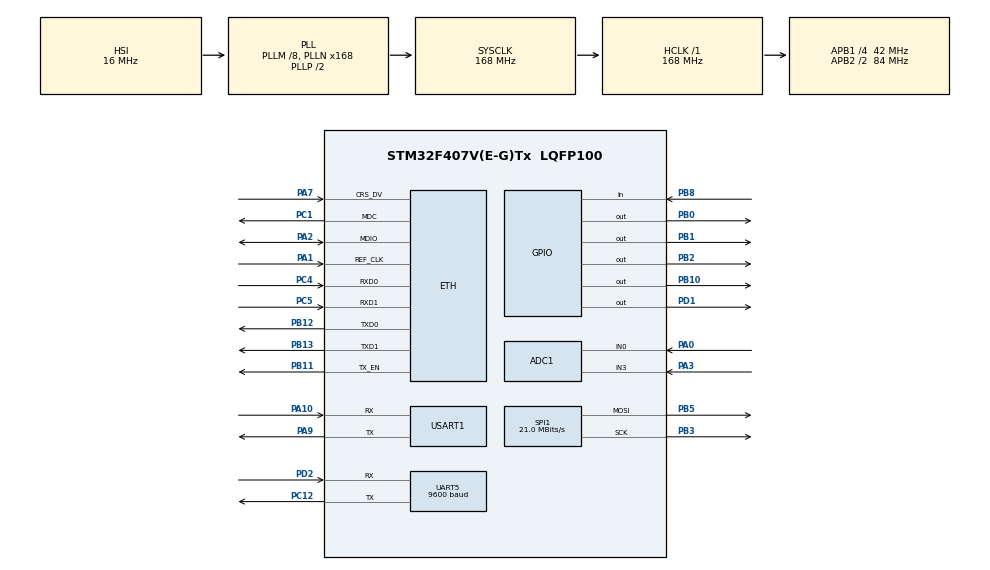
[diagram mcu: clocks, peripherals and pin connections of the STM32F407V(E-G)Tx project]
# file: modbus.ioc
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ADC1.Channel-0\#ChannelRegularConversion=ADC_CHANNEL_0
ADC1.InjNumberOfConversion=0
ADC1.NbrOfConversionFlag=1
ADC1.Rank-0\#ChannelRegularConversion=1
ADC1.SamplingTime-0\#ChannelRegularConversion=ADC_SAMPLETIME_84CYCLES
ADC1.master=1
ETH.MediaInterface=HAL_ETH_RMII_MODE
ETH.RxMode=ETH_RXINTERRUPT_MODE
FREERTOS.Tasks01=defaultTask,24,128,StartDefaultTask,Default,NULL,Dynamic,NULL,NULL
IWDG.Prescaler=IWDG_PRESCALER_64
LWIP.BSP.number=1
LWIP.GATEWAY_ADDRESS=192.168.001.001
LWIP.IP_ADDRESS=192.168.001.100
LWIP.LWIP_DHCP=0
LWIP.LWIP_UDP=0
LWIP.NETMASK_ADDRESS=255.255.255.000
LWIP.Version=v2.1.2_Cube
LWIP0.BSP.STBoard=false
LWIP0.BSP.api=BSP_COMPONENT_DRIVER
LWIP0.BSP.component=LAN8742
LWIP0.BSP.instance=LAN8742
LWIP0.BSP.name=Driver_PHY
LWIP0.BSP.semaphore=S_LAN8742
LWIP0.BSP.solution=LAN8742
Mcu.Family=STM32F4
Mcu.Name=STM32F407V(E-G)Tx
Mcu.Package=LQFP100
NVIC.ETH_IRQn=true\:5\:0\:false\:false\:true\:true\:false\:true\:true
NVIC.PriorityGroup=NVIC_PRIORITYGROUP_4
NVIC.TIM6_DAC_IRQn=true\:15\:0\:false\:false\:true\:false\:false\:true\:true
NVIC.TimeBase=TIM6_DAC_IRQn
NVIC.TimeBaseIP=TIM6
PA0-WKUP.Signal=ADCx_IN0
PA1.Mode=RMII
PA1.Signal=ETH_REF_CLK
PA10.Mode=Asynchronous
PA10.Signal=USART1_RX
PA13.Mode=Serial_Wire
PA13.Signal=SYS_JTMS-SWDIO
PA14.Mode=Serial_Wire
PA14.Signal=SYS_JTCK-SWCLK
PA2.Mode=RMII
PA2.Signal=ETH_MDIO
PA3.Signal=ADCx_IN3
PA7.Mode=RMII
PA7.Signal=ETH_CRS_DV
PA9.Mode=Asynchronous
PA9.Signal=USART1_TX
PB0.PinState=GPIO_PIN_SET
PB0.Signal=GPIO_Output
PB1.Signal=GPIO_Output
PB10.GPIO_PuPd=GPIO_PULLUP
PB10.Signal=GPIO_Output
PB11.Mode=RMII
PB11.Signal=ETH_TX_EN
PB12.Mode=RMII
PB12.Signal=ETH_TXD0
PB13.Mode=RMII
PB13.Signal=ETH_TXD1
PB2.PinState=GPIO_PIN_SET
PB2.Signal=GPIO_Output
PB3.Mode=TX_Only_Simplex_Unidirect_Master
PB3.Signal=SPI1_SCK
PB5.Mode=TX_Only_Simplex_Unidirect_Master
PB5.Signal=SPI1_MOSI
PB8.Signal=GPIO_Input
PC1.Mode=RMII
PC1.Signal=ETH_MDC
PC12.Mode=Asynchronous
PC12.Signal=UART5_TX
PC4.Mode=RMII
PC4.Signal=ETH_RXD0
PC5.Mode=RMII
PC5.Signal=ETH_RXD1
PD1.Signal=GPIO_Output
PD2.Mode=Asynchronous
PD2.Signal=UART5_RX
PH0-OSC_IN.Mode=HSE-External-Oscillator
PH0-OSC_IN.Signal=RCC_OSC_IN
PH1-OSC_OUT.Mode=HSE-External-Oscillator
PH1-OSC_OUT.Signal=RCC_OSC_OUT
ProjectManager.HeapSize=0x200
ProjectManager.StackSize=0x400
ProjectManager.TargetToolchain=MDK-ARM V5.32
RCC.48MHZClocksFreq_Value=84000000
RCC.AHBFreq_Value=168000000
RCC.APB1CLKDivider=RCC_HCLK_DIV4
RCC.APB1Freq_Value=42000000
RCC.APB1TimFreq_Value=84000000
RCC.APB2CLKDivider=RCC_HCLK_DIV2
RCC.APB2Freq_Value=84000000
RCC.APB2TimFreq_Value=168000000
RCC.CortexFreq_Value=168000000
RCC.HCLKFreq_Value=168000000
RCC.HSE_VALUE=8000000
RCC.HSI_VALUE=16000000
RCC.LSE_VALUE=32768
RCC.PLLM=8
RCC.PLLN=168
RCC.SYSCLKFreq_VALUE=168000000
RCC.SYSCLKSource=RCC_SYSCLKSOURCE_PLLCLK
RCC.VCOOutputFreq_Value=336000000
SH.ADCx_IN0.0=ADC1_IN0,IN0
SH.ADCx_IN3.0=ADC1_IN3,IN3
SPI1.BaudRatePrescaler=SPI_BAUDRATEPRESCALER_4
SPI1.CalculateBaudRate=21.0 MBits/s
SPI1.Direction=SPI_DIRECTION_2LINES
SPI1.Mode=SPI_MODE_MASTER
SPI1.VirtualType=VM_MASTER
UART5.BaudRate=9600
UART5.VirtualMode=Asynchronous
USART1.VirtualMode=VM_ASYNC
VP_FREERTOS_VS_CMSIS_V2.Mode=CMSIS_V2
VP_IWDG_VS_IWDG.Mode=IWDG_Activate
VP_LWIP_VS_Enabled.Mode=Enabled
VP_SYS_VS_tim6.Mode=TIM6
board=custom

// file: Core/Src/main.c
/* USER CODE BEGIN Header */
/**
  ******************************************************************************
  * @file           : main.c
  * @brief          : Main program body
  ******************************************************************************
  * @attention
  *
  * Copyright (c) 2026 STMicroelectronics.
  * All rights reserved.
  *
  * This software is licensed under terms that can be found in the LICENSE file
  * in the root directory of this software component.
  * If no LICENSE file comes with this software, it is provided AS-IS.
  *
  ******************************************************************************
  */
/* USER CODE END Header */
#include "main.h"
#include "cmsis_os.h"
#include "adc.h"
#include "iwdg.h"
#include "lwip.h"
#include "spi.h"
#include "usart.h"
#include "gpio.h"

/* USER CODE BEGIN Includes */
#include <string.h>
#include "st7789.h"
#include "joystick.h"
/* USER CODE END Includes */

void SystemClock_Config(void);
void MX_FREERTOS_Init(void);

int main(void)
{

  /* MCU Configuration--------------------------------------------------------*/

  /* Reset of all peripherals, Initializes the Flash interface and the Systick. */
  HAL_Init();

  /* Configure the system clock */
  SystemClock_Config();

  /* Initialize all configured peripherals */
  MX_GPIO_Init();
  MX_USART1_UART_Init();
  MX_UART5_Init();
  MX_IWDG_Init();
  MX_ADC1_Init();
  MX_SPI1_Init();
  /* USER CODE BEGIN 2 */
  HAL_UART_Transmit(&huart1, (uint8_t*)"\r\n[BOOT] FreeRTOS (CMSIS v2) starting...\r\n",
                    (uint16_t)strlen("\r\n[BOOT] FreeRTOS (CMSIS v2) starting...\r\n"), HAL_MAX_DELAY);

  /* ST7789 屏幕自检：红->黑->左上蓝+右下绿 */
  st7789_init();
  st7789_fill(ST7789_RED);      HAL_Delay(500);
  st7789_fill(ST7789_BLACK);
  st7789_fill_rect(0,   0,   120, 160, ST7789_BLUE);
  st7789_fill_rect(120, 160, 120, 160, ST7789_GREEN);
  /* USER CODE END 2 */

  /* Init scheduler */
  osKernelInitialize();  /* Call init function for freertos objects (in cmsis_os2.c) */
  MX_FREERTOS_Init();

  /* Start scheduler */
  osKernelStart();

  /* We should never get here as control is now taken by the scheduler */

  /* Infinite loop */
  /* USER CODE BEGIN WHILE */
  while (1)
  {
    /* 调度器启动后永远到不了这里（只是占位） */
    /* USER CODE END WHILE */

  }
}

void SystemClock_Config(void)
{
  RCC_OscInitTypeDef RCC_OscInitStruct = {0};
  RCC_ClkInitTypeDef RCC_ClkInitStruct = {0};

  /** Configure the main internal regulator output voltage
  */
  __HAL_RCC_PWR_CLK_ENABLE();
  __HAL_PWR_VOLTAGESCALING_CONFIG(PWR_REGULATOR_VOLTAGE_SCALE1);

  /** Initializes the RCC Oscillators according to the specified parameters
  * in the RCC_OscInitTypeDef structure.
  */
  RCC_OscInitStruct.OscillatorType = RCC_OSCILLATORTYPE_HSI|RCC_OSCILLATORTYPE_LSI;
  RCC_OscInitStruct.HSIState = RCC_HSI_ON;
  RCC_OscInitStruct.HSICalibrationValue = RCC_HSICALIBRATION_DEFAULT;
  RCC_OscInitStruct.LSIState = RCC_LSI_ON;
  RCC_OscInitStruct.PLL.PLLState = RCC_PLL_ON;
  RCC_OscInitStruct.PLL.PLLSource = RCC_PLLSOURCE_HSI;
  RCC_OscInitStruct.PLL.PLLM = 8;
  RCC_OscInitStruct.PLL.PLLN = 168;
  RCC_OscInitStruct.PLL.PLLP = RCC_PLLP_DIV2;
  RCC_OscInitStruct.PLL.PLLQ = 4;
  if (HAL_RCC_OscConfig(&RCC_OscInitStruct) != HAL_OK)
  {
    Error_Handler();
  }

  /** Initializes the CPU, AHB and APB buses clocks
  */
  RCC_ClkInitStruct.ClockType = RCC_CLOCKTYPE_HCLK|RCC_CLOCKTYPE_SYSCLK
                              |RCC_CLOCKTYPE_PCLK1|RCC_CLOCKTYPE_PCLK2;
  RCC_ClkInitStruct.SYSCLKSource = RCC_SYSCLKSOURCE_PLLCLK;
  RCC_ClkInitStruct.AHBCLKDivider = RCC_SYSCLK_DIV1;
  RCC_ClkInitStruct.APB1CLKDivider = RCC_HCLK_DIV4;
  RCC_ClkInitStruct.APB2CLKDivider = RCC_HCLK_DIV2;

  if (HAL_RCC_ClockConfig(&RCC_ClkInitStruct, FLASH_LATENCY_5) != HAL_OK)
  {
    Error_Handler();
  }
}

void HAL_TIM_PeriodElapsedCallback(TIM_HandleTypeDef *htim)
{
  if (htim->Instance == TIM6)
  {
    HAL_IncTick();
  }
}

void Error_Handler(void)
{
  __disable_irq();
  while (1)
  {
  }
}

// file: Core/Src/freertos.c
/* USER CODE BEGIN Header */
/**
  ******************************************************************************
  * File Name          : freertos.c
  * Description        : Code for freertos applications
  ******************************************************************************
  * @attention
  *
  * Copyright (c) 2026 STMicroelectronics.
  * All rights reserved.
  *
  * This software is licensed under terms that can be found in the LICENSE file
  * in the root directory of this software component.
  * If no LICENSE file comes with this software, it is provided AS-IS.
  *
  ******************************************************************************
  */
/* USER CODE END Header */

#include "FreeRTOS.h"
#include "task.h"
#include "main.h"
#include "cmsis_os.h"

/* USER CODE BEGIN Includes */
#include <string.h>
#include <stdio.h>
#include "usart.h"
#include "iwdg.h"
#include "mb_rtu.h"       /* mbrtu_init */
#include "mb_tcp.h"       /* mbtcp_task */
#include "mb_gateway.h"   /* mbgw_init / mbgw_poll_task / mbgw_dump_task / mbgw_last_alive_ms */
#include "joystick.h"     /* joystick（界面在 ui.c 里用） */
#include "ui.h"           /* ui_init / ui_poll */
/* USER CODE END Includes */

/* USER CODE BEGIN Variables */
/* ---- 任务句柄与属性：stack_size 单位是“字节”，priority 是 CMSIS 优先级 ---- */

/** Modbus TCP 服务器任务（上行，对电脑） */
osThreadId_t tcpTaskHandle;
const osThreadAttr_t tcpTask_attributes = {
  .name = "tcpTask",
  .stack_size = 4096,                                  /* 4KB 栈 */
  .priority = (osPriority_t) osPriorityBelowNormal,    /* 低于 defaultTask，保证 LWIP 先初始化 */
};

/** Modbus RTU 主站轮询任务（下行，对从机） */
osThreadId_t rs485TaskHandle;
const osThreadAttr_t rs485Task_attributes = {
  .name = "rs485Task",
  .stack_size = 4096,
  .priority = (osPriority_t) osPriorityAboveNormal,    /* 高于屏幕任务：轮询时不被屏幕打断 */
};

/** 看门狗任务（检查轮询任务心跳，健康才喂狗） */
osThreadId_t wdTaskHandle;
const osThreadAttr_t wdTask_attributes = {
  .name = "wdTask",
  .stack_size = 512,
  .priority = (osPriority_t) osPriorityAboveNormal,    /* 高于轮询/网络任务，保证按时喂狗 */
};

/** 数据导出任务（TCP 5000，给 Python / 屏幕读全部点） */
osThreadId_t dumpTaskHandle;
const osThreadAttr_t dumpTask_attributes = {
  .name = "dumpTask",
  .stack_size = 4096,
  .priority = (osPriority_t) osPriorityNormal,         /* 要能抢过轮询任务，及时应答 */
};
/* USER CODE END Variables */
/* Definitions for defaultTask（界面任务；CubeMX 生成） */
osThreadId_t defaultTaskHandle;
const osThreadAttr_t defaultTask_attributes = {
  .name = "defaultTask",
  .stack_size = 512 * 4,                               /* 2KB 栈：里面要做 MX_LWIP_Init，别太小 */
  .priority = (osPriority_t) osPriorityNormal,
};

/* USER CODE BEGIN FunctionPrototypes */
void StartTcpTask(void *argument);
void StartRs485Task(void *argument);
void StartWatchdogTask(void *argument);
/* USER CODE END FunctionPrototypes */

void StartDefaultTask(void *argument);

extern void MX_LWIP_Init(void);
void MX_FREERTOS_Init(void); /* (MISRA C 2004 rule 8.1) */

/**
  * @brief  FreeRTOS 初始化：初始化各模块 + 创建所有任务
  * @param  None
  * @retval None
  * @note   在 osKernelStart() 之前被 main() 调用。
  */
void MX_FREERTOS_Init(void) {

  /* USER CODE BEGIN RTOS_MUTEX */
  /* 初始化各模块（内部各自创建所需的互斥锁） */
  mbrtu_init();     /* RS485 总线互斥锁 + 启动 UART5 接收中断 */
  mbgw_init();      /* 缓存互斥锁/事件标志 + 解析描述表生成点表 */
  /* USER CODE END RTOS_MUTEX */

  /* Create the thread(s) */
  /* creation of defaultTask */
  defaultTaskHandle = osThreadNew(StartDefaultTask, NULL, &defaultTask_attributes);

  /* USER CODE BEGIN RTOS_THREADS */
  /* 创建自定义任务 */
  tcpTaskHandle = osThreadNew(StartTcpTask, NULL, &tcpTask_attributes);
  rs485TaskHandle = osThreadNew(StartRs485Task, NULL, &rs485Task_attributes);
  wdTaskHandle = osThreadNew(StartWatchdogTask, NULL, &wdTask_attributes);
  dumpTaskHandle = osThreadNew(mbgw_dump_task, NULL, &dumpTask_attributes);
  if (tcpTaskHandle == NULL || rs485TaskHandle == NULL)
  {
    HAL_UART_Transmit(&huart1, (uint8_t*)"[RTOS] task create FAILED\r\n",
                      (uint16_t)strlen("[RTOS] task create FAILED\r\n"), 100);
  }
  /* USER CODE END RTOS_THREADS */

}

void StartDefaultTask(void *argument)
{
  /* init code for LWIP */
  MX_LWIP_Init();
  /* USER CODE BEGIN StartDefaultTask */
  st7789_dma_init();         /* 启动屏幕 SPI DMA（要用 osSemaphoreNew，必须在调度器起来后） */
  ui_init();                 /* 清屏 + 画标题/列表/数据 */
  for(;;)
  {
    ui_poll();               /* 摇杆上下切换从机；周期刷新 */
    osDelay(20);
  }
  /* USER CODE END StartDefaultTask */
}

/* USER CODE BEGIN Application */

/**
  * @brief  Modbus TCP 服务器任务壳（上行，对电脑）
  * @param  argument  未使用
  * @retval 无（任务永不返回）
  * @note   直接进入 mb_tcp 模块的服务器循环。
  */
void StartTcpTask(void *argument)
{
  mbtcp_task(argument);
}

/**
  * @brief  Modbus RTU 主站轮询任务壳（下行，对从机）
  * @param  argument  未使用
  * @retval 无（任务永不返回）
  * @note   直接进入 mb_gateway 模块的轮询循环。
  */
void StartRs485Task(void *argument)
{
  mbgw_poll_task(argument);
}

/* ================= 看门狗 ================= */

#define WD_FEED_PERIOD_MS   500    /**< 看门狗任务检查周期（毫秒） */
#define WD_TASK_TIMEOUT_MS  3000   /**< 轮询任务心跳超过此值视为卡死（毫秒） */

/**
  * @brief  看门狗任务：检查轮询任务心跳，健康才喂独立看门狗(IWDG)
  * @param  argument  未使用
  * @retval 无（任务永不返回）
  * @note   每 WD_FEED_PERIOD_MS 检查一次轮询任务心跳：
  *         心跳新鲜 -> 刷新 IWDG；心跳超时 -> 不喂，等 IWDG 超时复位系统。
  */
void StartWatchdogTask(void *argument)
{
  (void)argument;

  for (;;)
  {
    if ((HAL_GetTick() - mbgw_last_alive_ms()) < WD_TASK_TIMEOUT_MS)
    {
      HAL_IWDG_Refresh(&hiwdg);        /* 关键任务健康 -> 喂狗 */
    }
    /* 否则不喂狗，交给 IWDG 超时复位 */
    osDelay(WD_FEED_PERIOD_MS);
  }
}

/* ================= 栈溢出钩子 ================= */

/**
  * @brief  FreeRTOS 检测到任务栈溢出时回调（中断上下文，不能阻塞）
  * @param  xTask      溢出任务的句柄
  * @param  pcTaskName 溢出任务的名字
  * @retval 无
  * @note   直接把任务名打到 USART1，然后停机，便于定位。
  */
void vApplicationStackOverflowHook(TaskHandle_t xTask, char *pcTaskName)
{
  const char *msg = "\r\n!!! STACK OVERFLOW in: ";
  (void)xTask;

  while (*msg)
  {
    while (!(USART1->SR & USART_SR_TXE)) { }
    USART1->DR = *msg++;
  }
  while (*pcTaskName)
  {
    while (!(USART1->SR & USART_SR_TXE)) { }
    USART1->DR = *pcTaskName++;
  }
  while (!(USART1->SR & USART_SR_TC)) { }
  USART1->DR = '\r';
  while (!(USART1->SR & USART_SR_TXE)) { }
  USART1->DR = '\n';

  __disable_irq();
  for (;;) { }
}

/* USER CODE END Application */
